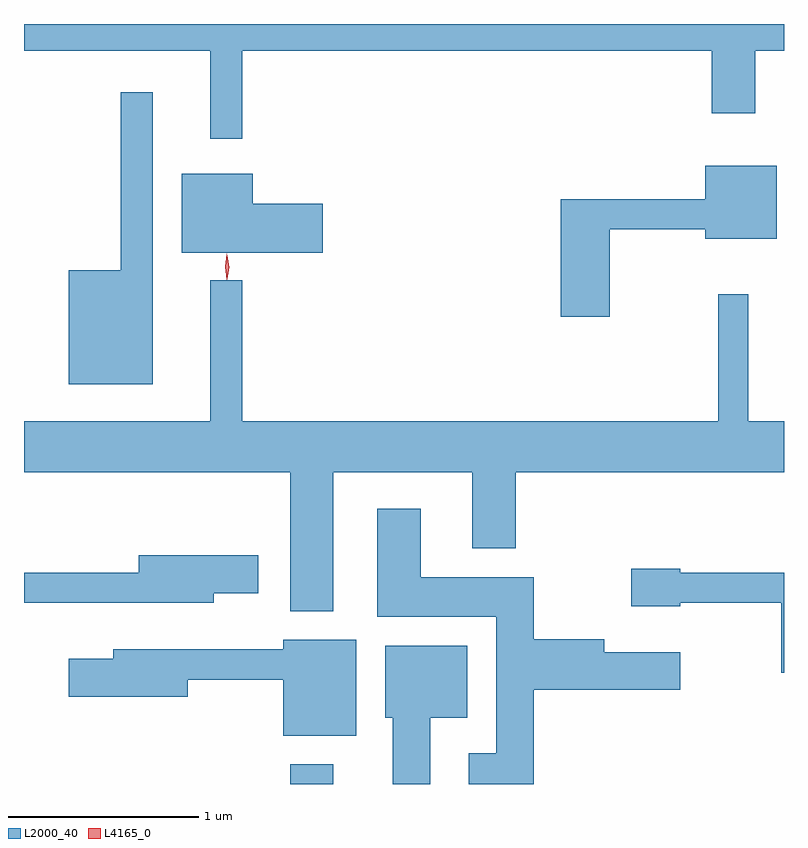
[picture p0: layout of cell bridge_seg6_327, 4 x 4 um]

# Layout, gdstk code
import gdstk
lib = gdstk.Library(unit=1e-6, precision=1e-09)
def R(c, l, rs):  # rectangles x0, y0, x1, y1
    for r in rs: c.add(gdstk.rectangle(r[:2], r[2:], *l))
def P(c, l, *ps):  # polygons
    for p in ps: c.add(gdstk.Polygon(p, *l))
L2000_40 = (2000, 40)
L4165_0 = (4165, 0)

bridge_seg6_327 = lib.new_cell('bridge_seg6_327')
R(bridge_seg6_327, L2000_40, [(1283.141,1530.636,1283.369,1530.739)])
P(bridge_seg6_327, L2000_40, [(1282.889,1534.496),(1285.361,1534.496),(1285.361,1534.166),(1285.589,1534.166),(1285.589,1534.496),(1285.741,1534.496),(1285.741,1534.636),(1281.741,1534.636),(1281.741,1534.496),(1282.721,1534.496),(1282.721,1534.033),(1282.889,1534.033)],
  [(1282.419,1534.278),(1282.251,1534.278),(1282.251,1533.339),(1281.976,1533.339),(1281.976,1532.741),(1282.419,1532.741)],
  [(1284.824,1533.556),(1285.326,1533.556),(1285.326,1533.506),(1285.704,1533.506),(1285.704,1533.889),(1285.326,1533.889),(1285.326,1533.714),(1284.566,1533.714),(1284.566,1533.096),(1284.824,1533.096)],
  [(1283.314,1533.689),(1282.944,1533.689),(1282.944,1533.849),(1282.571,1533.849),(1282.571,1533.431),(1283.314,1533.431)],
  [(1283.369,1532.276),(1284.101,1532.276),(1284.101,1531.876),(1284.329,1531.876),(1284.329,1532.276),(1285.741,1532.276),(1285.741,1532.544),(1285.554,1532.544),(1285.554,1533.213),(1285.396,1533.213),(1285.396,1532.544),(1282.889,1532.544),(1282.889,1533.288),(1282.721,1533.288),(1282.721,1532.544),(1281.741,1532.544),(1281.741,1532.276),(1283.141,1532.276),(1283.141,1531.546),(1283.369,1531.546)],
  [(1284.424,1531.131),(1285.194,1531.131),(1285.194,1531.329),(1284.794,1531.329),(1284.794,1531.399),(1284.424,1531.399),(1284.424,1531.724),(1283.829,1531.724),(1283.829,1532.084),(1283.601,1532.084),(1283.601,1531.516),(1284.226,1531.516),(1284.226,1530.799),(1284.081,1530.799),(1284.081,1530.636),(1284.424,1530.636)],
  [(1282.739,1531.641),(1282.974,1531.641),(1282.974,1531.839),(1282.346,1531.839),(1282.346,1531.749),(1281.741,1531.749),(1281.741,1531.591),(1282.739,1531.591)],
  [(1285.741,1531.749),(1285.194,1531.749),(1285.194,1531.769),(1284.936,1531.769),(1284.936,1531.571),(1285.194,1531.571),(1285.194,1531.591),(1285.726,1531.591),(1285.726,1531.221),(1285.741,1531.221)],
  [(1283.489,1531.394),(1283.106,1531.394),(1283.106,1531.344),(1282.211,1531.344),(1282.211,1531.294),(1281.976,1531.294),(1281.976,1531.096),(1282.604,1531.096),(1282.604,1531.186),(1283.106,1531.186),(1283.106,1530.891),(1283.489,1530.891)],
  [(1283.879,1530.986),(1284.074,1530.986),(1284.074,1531.364),(1283.641,1531.364),(1283.641,1530.986),(1283.681,1530.986),(1283.681,1530.636),(1283.879,1530.636)])
P(bridge_seg6_327, L4165_0, [(1282.808,1533.29),(1282.799,1533.358),(1282.808,1533.425),(1282.809,1533.426),(1282.809,1533.425),(1282.819,1533.358),(1282.809,1533.29),(1282.809,1533.29)],
  [(1282.811,1533.293),(1282.811,1533.293),(1282.801,1533.356),(1282.81,1533.419),(1282.811,1533.42),(1282.811,1533.419),(1282.821,1533.356),(1282.812,1533.293)])

lib.write_gds('bridge_seg6_327.gds')
